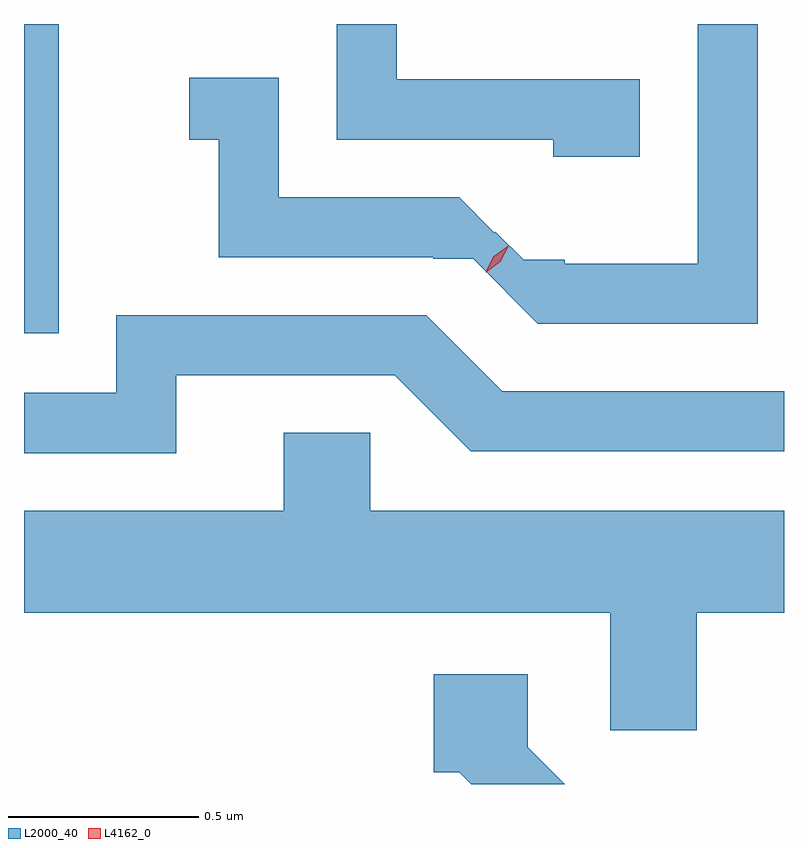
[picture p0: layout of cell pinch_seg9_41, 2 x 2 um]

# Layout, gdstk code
import gdstk
lib = gdstk.Library(unit=1e-6, precision=1e-09)
def R(c, l, rs):  # rectangles x0, y0, x1, y1
    for r in rs: c.add(gdstk.rectangle(r[:2], r[2:], *l))
def P(c, l, *ps):  # polygons
    for p in ps: c.add(gdstk.Polygon(p, *l))
L2000_40 = (2000, 40)
L4162_0 = (4162, 0)

pinch_seg9_41 = lib.new_cell('pinch_seg9_41')
R(pinch_seg9_41, L2000_40, [(846.298,1970.351,846.389,1971.165)])
P(pinch_seg9_41, L2000_40, [(848.229,1971.165),(848.071,1971.165),(848.071,1970.534),(847.721,1970.534),(847.721,1970.544),(847.613,1970.544),(847.538,1970.618),(847.536,1970.616),(847.443,1970.709),(846.969,1970.709),(846.969,1971.024),(846.733,1971.024),(846.733,1970.861),(846.811,1970.861),(846.811,1970.551),(847.375,1970.551),(847.375,1970.547),(847.48,1970.547),(847.65,1970.376),(848.229,1970.376)],
  [(847.919,1971.019),(847.279,1971.019),(847.279,1971.165),(847.121,1971.165),(847.121,1970.861),(847.691,1970.861),(847.691,1970.816),(847.919,1970.816)],
  [(846.699,1970.241),(847.274,1970.241),(847.474,1970.041),(848.298,1970.041),(848.298,1970.199),(847.557,1970.199),(847.357,1970.399),(846.541,1970.399),(846.541,1970.194),(846.298,1970.194),(846.298,1970.036),(846.699,1970.036)],
  [(848.069,1969.616),(848.298,1969.616),(848.298,1969.884),(847.209,1969.884),(847.209,1970.089),(846.981,1970.089),(846.981,1969.884),(846.298,1969.884),(846.298,1969.616),(847.841,1969.616),(847.841,1969.306),(848.069,1969.306)],
  [(847.624,1969.262),(847.624,1969.454),(847.376,1969.454),(847.376,1969.196),(847.444,1969.196),(847.475,1969.165),(847.721,1969.165)])
P(pinch_seg9_41, L4162_0, [(847.513,1970.512),(847.513,1970.512),(847.536,1970.553),(847.572,1970.581),(847.573,1970.581),(847.573,1970.581),(847.551,1970.54),(847.514,1970.512)],
  [(847.516,1970.517),(847.516,1970.518),(847.534,1970.554),(847.567,1970.578),(847.568,1970.578),(847.568,1970.577),(847.55,1970.541),(847.517,1970.517)])

lib.write_gds('pinch_seg9_41.gds')
